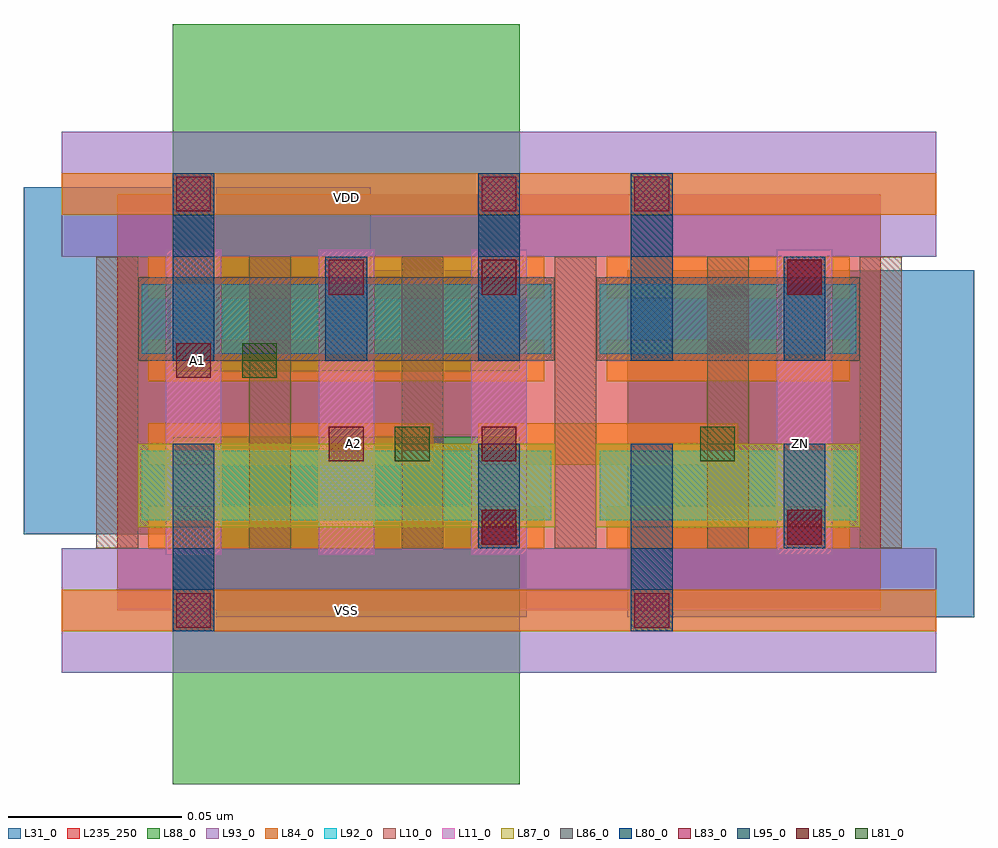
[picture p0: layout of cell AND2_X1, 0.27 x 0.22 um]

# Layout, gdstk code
import gdstk
lib = gdstk.Library(unit=1e-6, precision=1e-09)
def R(c, l, rs):  # rectangles x0, y0, x1, y1
    for r in rs: c.add(gdstk.rectangle(r[:2], r[2:], *l))
def A(c, l, x, y, w, h, nx, ny, dx, dy):  # array of equal rectangles
    R(c, l, [(x+i*dx, y+j*dy, x+i*dx+w, y+j*dy+h) for i in range(nx) for j in range(ny)])
L10_0 = (10, 0)
L11_0 = (11, 0)
L31_0 = (31, 0)
L80_0 = (80, 0)
L81_0 = (81, 0)
L83_0 = (83, 0)
L84_0 = (84, 0)
L85_0 = (85, 0)
L86_0 = (86, 0)
L87_0 = (87, 0)
L88_0 = (88, 0)
L92_0 = (92, 0)
L93_0 = (93, 0)
L95_0 = (95, 0)
L235_250 = (235, 250)

and2_x1 = lib.new_cell('AND2_X1')
A(and2_x1, L10_0, -0.006, 0.018, 0.012, 0.084, 6, 1, 0.044, 0)
A(and2_x1, L11_0, 0.014, 0.016, 0.016, 0.088, 3, 1, 0.044, 0)
R(and2_x1, L11_0, [(0.19,0.016,0.206,0.104)])
R(and2_x1, L31_0, [(0.018,-0.002,0.118,0.098), (0.147,-0.002,0.247,0.098), (-0.027,0.022,0.073,0.122)])
R(and2_x1, L80_0, [(0.016,-0.006,0.028,0.048), (0.148,-0.006,0.16,0.048), (0.104,0.018,0.116,0.048), (0.192,0.018,0.204,0.048), (0.016,0.072,0.028,0.126), (0.06,0.072,0.072,0.102), (0.104,0.072,0.116,0.126), (0.148,0.072,0.16,0.126), (0.192,0.072,0.204,0.102)])
R(and2_x1, L81_0, [(0.08,0.043,0.09,0.053), (0.168,0.043,0.178,0.053), (0.036,0.067,0.046,0.077)])
R(and2_x1, L83_0, [(0.017,-0.005,0.027,0.005), (0.149,-0.005,0.159,0.005), (0.105,0.019,0.115,0.029), (0.193,0.019,0.203,0.029), (0.061,0.091,0.071,0.101), (0.193,0.091,0.203,0.101), (0.017,0.115,0.027,0.125), (0.105,0.115,0.115,0.125), (0.149,0.115,0.159,0.125)])
R(and2_x1, L84_0, [(-0.016,-0.006,0.236,0.006), (0.009,0.018,0.123,0.03), (0.141,0.018,0.211,0.03), (0.009,0.042,0.091,0.054), (0.104,0.042,0.179,0.054), (0.009,0.066,0.123,0.078), (0.141,0.066,0.211,0.078), (0.009,0.09,0.123,0.102), (0.141,0.09,0.211,0.102), (-0.016,0.114,0.236,0.126)])
R(and2_x1, L85_0, [(0.105,0.019,0.115,0.029), (0.193,0.019,0.203,0.029), (0.061,0.043,0.071,0.053), (0.105,0.043,0.115,0.053), (0.017,0.067,0.027,0.077), (0.105,0.091,0.115,0.101), (0.193,0.091,0.203,0.101)])
R(and2_x1, L86_0, [(0.006,0.072,0.126,0.096), (0.138,0.072,0.214,0.096)])
R(and2_x1, L87_0, [(0.006,0.024,0.126,0.048), (0.138,0.024,0.214,0.048)])
R(and2_x1, L88_0, [(0.016,-0.05,0.116,0.05), (0.016,0.069,0.116,0.169)])
R(and2_x1, L92_0, [(0.007,0.026,0.125,0.046), (0.139,0.026,0.183,0.046), (0.183,0.026,0.213,0.046), (0.007,0.074,0.125,0.094), (0.139,0.074,0.183,0.094), (0.183,0.074,0.213,0.094)])
R(and2_x1, L93_0, [(-0.016,-0.018,0.236,0.018), (-0.016,0.102,0.236,0.138)])
R(and2_x1, L95_0, [(0.016,0.006,0.028,0.018), (0.148,0.006,0.16,0.018), (0.016,0.102,0.028,0.114), (0.104,0.102,0.116,0.114), (0.148,0.102,0.16,0.114)])
R(and2_x1, L235_250, [(0,0,0.22,0.12)])
and2_x1.add(gdstk.Label('VSS', (0.066,0), layer=88, texttype=0))
and2_x1.add(gdstk.Label('VDD', (0.066,0.119), layer=88, texttype=0))
and2_x1.add(gdstk.Label('ZN', (0.197,0.048), layer=31, texttype=0))
and2_x1.add(gdstk.Label('A2', (0.068,0.048), layer=31, texttype=0))
and2_x1.add(gdstk.Label('A1', (0.023,0.072), layer=31, texttype=0))

lib.write_gds('AND2_X1.gds')
